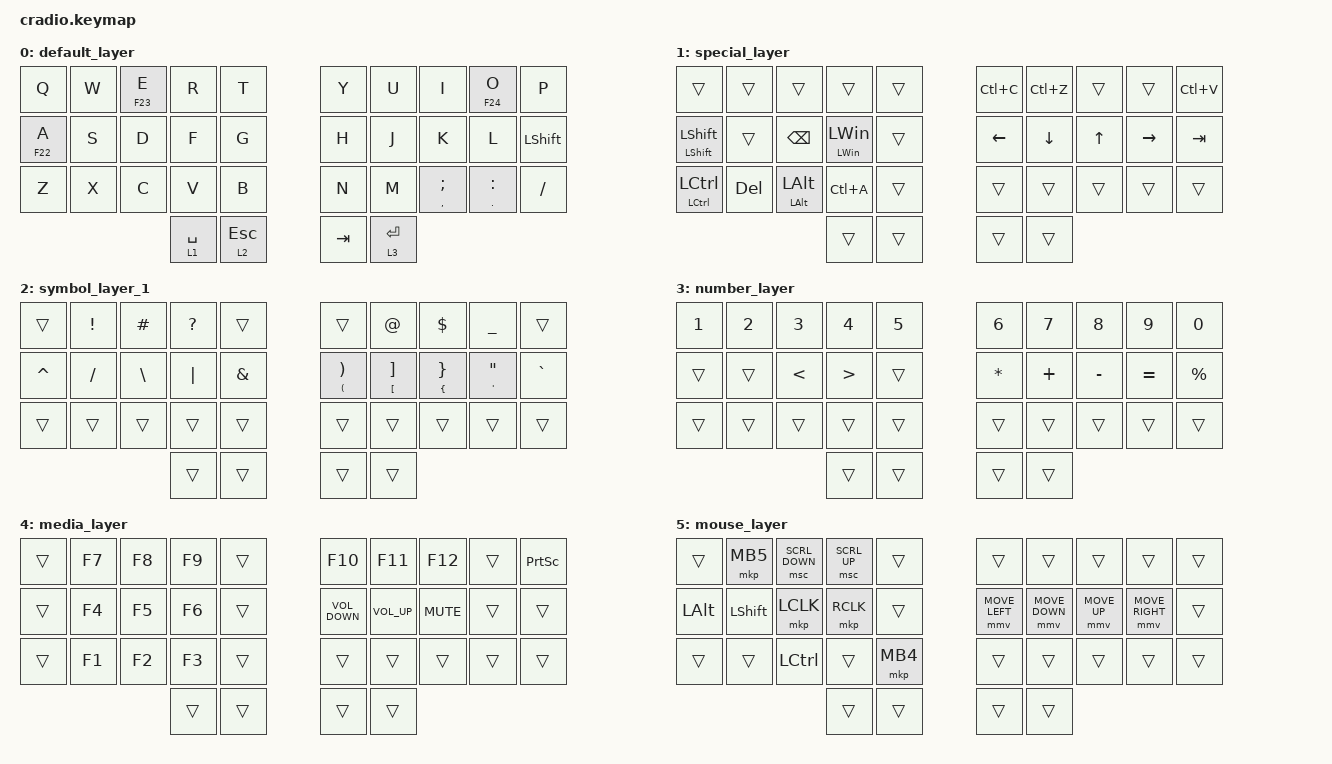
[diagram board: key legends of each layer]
#include <dt-bindings/zmk/mouse.h>
#include <behaviors.dtsi>
#include <dt-bindings/zmk/keys.h>
#include <dt-bindings/zmk/pointing.h>

#define ZMK_POINTING_DEFAULT_MOVE_VAL 1500  // default: 600
#define ZMK_POINTING_DEFAULT_SCRL_VAL 20    // default: 10

/ {
    input_configs {
        compatible = "zmk,input-configs";

        mmv {
            device = <&mmv>;
            scale-multiplier = <10>;
        };
    };

    behaviors {
        kpml: key_press_moment_layer {
            compatible = "zmk,behavior-hold-tap";
            label = "layer_moment_press_key";
            bindings = <&mo>, <&kp>;

            #binding-cells = <2>;
            tapping-term-ms = <200>;
            flavor = "tap-preferred";
        };

        sticky_key_quick_release: sticky_key_quick_release {
            compatible = "zmk,behavior-sticky-key";
            label = "STICKY_KEY_QUICK_RELEASE";
            bindings = <&kp>;
            #binding-cells = <1>;
            release-after-ms = <1000>;
            quick-release;
            ignore-modifiers;
        };

        kp_hold_kp: kp_hold_kp {
            compatible = "zmk,behavior-hold-tap";
            label = "KP_HOLD_KP";
            bindings = <&kp>, <&kp>;

            #binding-cells = <2>;
            hold-trigger-on-release;
            flavor = "tap-preferred";
            tapping-term-ms = <300>;
        };

        sticky_hold: sticky_hold {
            compatible = "zmk,behavior-hold-tap";
            label = "STICKY_HOLD";
            #binding-cells = <2>;
            hold-while-undecided;
            hold-while-undecided-linger;
            bindings = <&kp>, <&sticky_key_quick_release>;

            tapping-term-ms = <250>;
        };
    };

    combos {
        compatible = "zmk,combos";

        mouse_layer {
            bindings = <&mo 5>;
            key-positions = <31 32>;
        };

        media_layer {
            bindings = <&mo 4>;
            key-positions = <30 33>;
        };

        unlock_studio {
            bindings = <&studio_unlock>;
            key-positions = <0 1 2>;
        };
    };

    keymap {
        compatible = "zmk,keymap";

        default_layer {
            bindings = <
&kp Q              &kp W  &kp_hold_kp F23 E  &kp R          &kp T             &kp Y    &kp U          &kp I                        &kp_hold_kp F24 O      &kp P
&kp_hold_kp F22 A  &kp S  &kp D              &kp F          &kp G             &kp H    &kp J          &kp K                        &kp L                  &kp LEFT_SHIFT
&kp Z              &kp X  &kp C              &kp V          &kp B             &kp N    &kp M          &kp_hold_kp COMMA SEMICOLON  &kp_hold_kp DOT COLON  &kp FSLH
                                             &kpml 1 SPACE  &kpml 2 ESCAPE    &kp TAB  &kpml 3 ENTER
            >;
        };

        special_layer {
            bindings = <
&trans                              &trans   &trans                          &trans                          &trans    &kp LC(C)       &kp LC(Z)  &trans        &trans     &kp LC(V)
&sticky_hold LEFT_SHIFT LEFT_SHIFT  &trans   &kp BACKSPACE                   &sticky_hold LEFT_WIN LEFT_WIN  &trans    &kp LEFT_ARROW  &kp DOWN   &kp UP_ARROW  &kp RIGHT  &kp TAB
&sticky_hold LCTRL LCTRL            &kp DEL  &sticky_hold LEFT_ALT LEFT_ALT  &kp LC(A)                       &trans    &trans          &trans     &trans        &trans     &trans
                                                                             &trans                          &trans    &trans          &trans
            >;
        };

        symbol_layer_1 {
            bindings = <
&trans     &kp EXCLAMATION  &kp POUND      &kp QUESTION  &trans           &trans                                          &kp AT_SIGN                             &kp DOLLAR                          &kp UNDERSCORE                          &trans
&kp CARET  &kp SLASH        &kp BACKSLASH  &kp PIPE      &kp AMPERSAND    &kp_hold_kp LEFT_PARENTHESIS RIGHT_PARENTHESIS  &kp_hold_kp LEFT_BRACKET RIGHT_BRACKET  &kp_hold_kp LEFT_BRACE RIGHT_BRACE  &kp_hold_kp SINGLE_QUOTE DOUBLE_QUOTES  &kp GRAVE
&trans     &trans           &trans         &trans        &trans           &trans                                          &trans                                  &trans                              &trans                                  &trans
                                           &trans        &trans           &trans                                          &trans
            >;
        };

        number_layer {
            bindings = <
&kp N1  &kp N2  &kp NUMBER_3   &kp N4            &kp N5    &kp N6        &kp N7    &kp N8     &kp N9     &kp N0
&trans  &trans  &kp LESS_THAN  &kp GREATER_THAN  &trans    &kp ASTERISK  &kp PLUS  &kp MINUS  &kp EQUAL  &kp PERCENT
&trans  &trans  &trans         &trans            &trans    &trans        &trans    &trans     &trans     &trans
                               &trans            &trans    &trans        &trans
            >;
        };

        media_layer {
            bindings = <
&trans  &kp F7  &kp F8  &kp F9  &trans    &kp F10            &kp F11          &kp F12     &trans  &kp PRINTSCREEN
&trans  &kp F4  &kp F5  &kp F6  &trans    &kp C_VOLUME_DOWN  &kp C_VOLUME_UP  &kp K_MUTE  &trans  &trans
&trans  &kp F1  &kp F2  &kp F3  &trans    &trans             &trans           &trans      &trans  &trans
                        &trans  &trans    &trans             &trans
            >;
        };

        mouse_layer {
            bindings = <
&trans        &mkp MB5        &msc SCRL_DOWN  &msc SCRL_UP  &trans      &trans          &trans          &trans        &trans           &trans
&kp LEFT_ALT  &kp LEFT_SHIFT  &mkp LCLK       &mkp RCLK     &trans      &mmv MOVE_LEFT  &mmv MOVE_DOWN  &mmv MOVE_UP  &mmv MOVE_RIGHT  &trans
&trans        &trans          &kp LCTRL       &trans        &mkp MB4    &trans          &trans          &trans        &trans           &trans
                                              &trans        &trans      &trans          &trans
            >;
        };
    };
};
